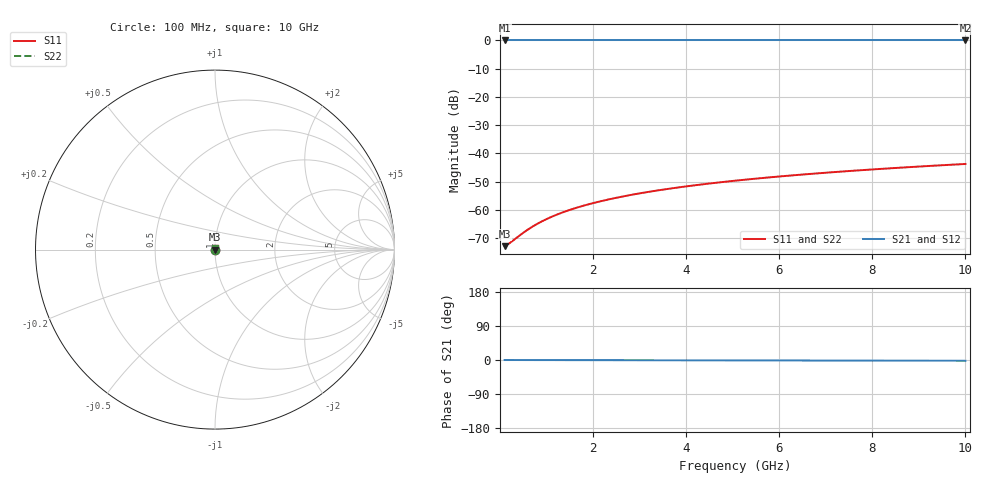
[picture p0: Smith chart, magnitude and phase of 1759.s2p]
# Hz S RI R 50.00
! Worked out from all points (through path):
!   100 points, 100 MHz to 10 GHz, reference 50 ohm
!   highest |S21| = 0.00 dB at 100 MHz (marker M1); lowest = 0.0 dB at 10 GHz (marker M2)
!   lowest |S11| = -72.8 dB at 100 MHz (marker M3), VSWR 1.00, Z = 50 + j0.0065 ohm
!   |S11| at or under -10 dB: start of sweep to end of sweep
!   |S22| runs from -72.8 to -43.7 dB; largest |S21 - S12| = 0
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1e8  0.000219 6.5e-05  0.9998 -0.000352  0.9998 -0.000352  0.000219 6.5e-05
2e8  0.00022 0.00013  0.9998 -0.000703  0.9998 -0.000703  0.00022 0.00013
5e8  0.000223 0.000325  0.9998 -0.00176  0.9998 -0.00176  0.000223 0.000325
6e8  0.000224 0.00039  0.9998 -0.00211  0.9998 -0.00211  0.000224 0.00039
7e8  0.000225 0.000455  0.9998 -0.00246  0.9998 -0.00246  0.000225 0.000455
9e8  0.000226 0.000585  0.9998 -0.00317  0.9998 -0.00317  0.000226 0.000585
1.1e9  0.000228 0.000714  0.9998 -0.00387  0.9998 -0.00387  0.000228 0.000714
1.3e9  0.00023 0.000844  0.9998 -0.00457  0.9998 -0.00457  0.00023 0.000844
1.5e9  0.000231 0.000974  0.9998 -0.00528  0.9998 -0.00528  0.000231 0.000974
1.8e9  0.000234 0.00117  0.9997 -0.00633  0.9997 -0.00633  0.000234 0.00117
2.1e9  0.000238 0.00136  0.9997 -0.00739  0.9997 -0.00739  0.000238 0.00136
2.5e9  0.000243 0.00162  0.9997 -0.0088  0.9997 -0.0088  0.000243 0.00162
2.9e9  0.000248 0.00188  0.9997 -0.0102  0.9997 -0.0102  0.000248 0.00188
3.4e9  0.000256 0.00221  0.9997 -0.012  0.9997 -0.012  0.000256 0.00221
3.8e9  0.000263 0.00247  0.9997 -0.0134  0.9997 -0.0134  0.000263 0.00247
4.2e9  0.000271 0.00273  0.9996 -0.0148  0.9996 -0.0148  0.000271 0.00273
5.1e9  0.000291 0.00331  0.9996 -0.018  0.9996 -0.018  0.000291 0.00331
5.9e9  0.000312 0.00383  0.9995 -0.0208  0.9995 -0.0208  0.000312 0.00383
6.7e9  0.000336 0.00435  0.9995 -0.0236  0.9995 -0.0236  0.000336 0.00435
7.5e9  0.000363 0.00487  0.9994 -0.0264  0.9994 -0.0264  0.000363 0.00487
8.4e9  0.000397 0.00545  0.9993 -0.0296  0.9993 -0.0296  0.000397 0.00545
1e10  0.000467 0.00649  0.9991 -0.0353  0.9991 -0.0353  0.000467 0.00649
